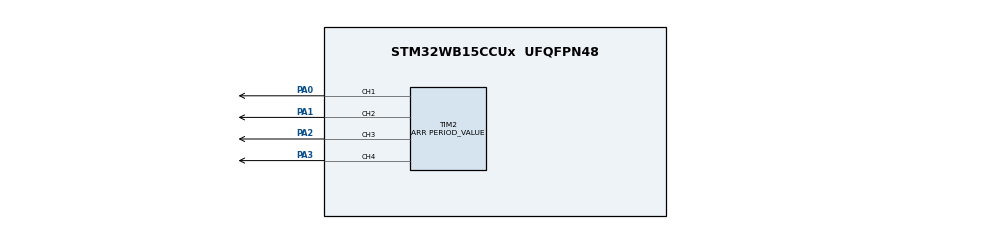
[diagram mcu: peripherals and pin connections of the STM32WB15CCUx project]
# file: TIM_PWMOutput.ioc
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Mcu.Family=STM32WB
Mcu.Name=STM32WB15CCUx
Mcu.Package=UFQFPN48
NVIC.PriorityGroup=NVIC_PRIORITYGROUP_4
PA0.GPIO_PuPd=GPIO_PULLUP
PA0.GPIO_Speed=GPIO_SPEED_FREQ_VERY_HIGH
PA0.Signal=S_TIM2_CH1
PA1.GPIO_PuPd=GPIO_PULLUP
PA1.GPIO_Speed=GPIO_SPEED_FREQ_VERY_HIGH
PA1.Signal=S_TIM2_CH2
PA2.GPIO_PuPd=GPIO_PULLUP
PA2.GPIO_Speed=GPIO_SPEED_FREQ_VERY_HIGH
PA2.Signal=S_TIM2_CH3
PA3.GPIO_PuPd=GPIO_PULLUP
PA3.GPIO_Speed=GPIO_SPEED_FREQ_VERY_HIGH
PA3.Signal=S_TIM2_CH4
ProjectManager.HeapSize=0x200
ProjectManager.StackSize=0x400
ProjectManager.TargetToolchain=STM32CubeIDE
RCC.AHB2CLKDivider=RCC_SYSCLK_DIV2
RCC.AHBFreq_Value=64000000
RCC.APB1Freq_Value=64000000
RCC.APB1TimFreq_Value=64000000
RCC.APB2Freq_Value=64000000
RCC.APB2TimFreq_Value=64000000
RCC.APB3Freq_Value=16000000
RCC.CortexFreq_Value=64000000
RCC.HCLKFreq_Value=64000000
RCC.HSE_VALUE=8000000
RCC.HSI_VALUE=16000000
RCC.LSE_VALUE=32768
RCC.PLLN=32
RCC.SYSCLKFreq_VALUE=64000000
RCC.SYSCLKSource=RCC_SYSCLKSOURCE_PLLCLK
RCC.VCOOutputFreq_Value=128000000
SH.S_TIM2_CH1.0=TIM2_CH1,PWM Generation1 CH1
SH.S_TIM2_CH2.0=TIM2_CH2,PWM Generation2 CH2
SH.S_TIM2_CH3.0=TIM2_CH3,PWM Generation3 CH3
SH.S_TIM2_CH4.0=TIM2_CH4,PWM Generation4 CH4
TIM2.AutoReloadPreload=TIM_AUTORELOAD_PRELOAD_DISABLE
TIM2.Channel-PWM\ Generation1\ CH1=TIM_CHANNEL_1
TIM2.Channel-PWM\ Generation2\ CH2=TIM_CHANNEL_2
TIM2.Channel-PWM\ Generation3\ CH3=TIM_CHANNEL_3
TIM2.Channel-PWM\ Generation4\ CH4=TIM_CHANNEL_4
TIM2.ClearInputSource=TIM_CLEARINPUTSOURCE_NONE
TIM2.ClockDivision=TIM_CLOCKDIVISION_DIV1
TIM2.CounterMode=TIM_COUNTERMODE_UP
TIM2.OC1Preload_PWM=ENABLE
TIM2.OC2Preload_PWM=ENABLE
TIM2.OC3Preload_PWM=ENABLE
TIM2.OC4Preload_PWM=ENABLE
TIM2.OCFastMode_PWM-PWM\ Generation1\ CH1=TIM_OCFAST_DISABLE
TIM2.OCFastMode_PWM-PWM\ Generation2\ CH2=TIM_OCFAST_DISABLE
TIM2.OCFastMode_PWM-PWM\ Generation3\ CH3=TIM_OCFAST_DISABLE
TIM2.OCFastMode_PWM-PWM\ Generation4\ CH4=TIM_OCFAST_DISABLE
TIM2.OCMode_PWM-PWM\ Generation1\ CH1=TIM_OCMODE_PWM1
TIM2.OCMode_PWM-PWM\ Generation2\ CH2=TIM_OCMODE_PWM1
TIM2.OCMode_PWM-PWM\ Generation3\ CH3=TIM_OCMODE_PWM1
TIM2.OCMode_PWM-PWM\ Generation4\ CH4=TIM_OCMODE_PWM1
TIM2.OCPolarity_1=TIM_OCPOLARITY_HIGH
TIM2.OCPolarity_2=TIM_OCPOLARITY_HIGH
TIM2.OCPolarity_3=TIM_OCPOLARITY_HIGH
TIM2.OCPolarity_4=TIM_OCPOLARITY_HIGH
TIM2.Period=PERIOD_VALUE
TIM2.Prescaler=PRESCALER_VALUE
TIM2.Pulse-PWM\ Generation1\ CH1=PULSE1_VALUE
TIM2.Pulse-PWM\ Generation2\ CH2=PULSE2_VALUE
TIM2.Pulse-PWM\ Generation3\ CH3=PULSE3_VALUE
TIM2.Pulse-PWM\ Generation4\ CH4=PULSE4_VALUE
TIM2.TIM_MasterOutputTrigger=TIM_TRGO_RESET
TIM2.TIM_MasterSlaveMode=TIM_MASTERSLAVEMODE_DISABLE
VP_MEMORYMAP_VS_MEMORYMAP.Mode=CurAppReg
board=NUCLEO-WB15CC

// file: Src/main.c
/* USER CODE BEGIN Header */
/**
  ******************************************************************************
  * @file    TIM/TIM_PWMOutput/Src/main.c
  * @author  MCD Application Team
  * @brief   This sample code shows how to use STM32WBxx TIM HAL API to generate
  *          4 signals in PWM.
  ******************************************************************************
  * @attention
  *
  * Copyright (c) 2019-2021 STMicroelectronics.
  * All rights reserved.
  *
  * This software is licensed under terms that can be found in the LICENSE file
  * in the root directory of this software component.
  * If no LICENSE file comes with this software, it is provided AS-IS.
  *
  ******************************************************************************
  */
/* USER CODE END Header */
#include "main.h"

TIM_HandleTypeDef htim2;
uint8_t u8_FlagPWM1;
uint8_t u8_FlagPWM2;
uint8_t u8_FlagPWM3;
uint8_t u8_FlagPWM4;

void SystemClock_Config(void);
void PeriphCommonClock_Config(void);
static void MX_GPIO_Init(void);
static void MX_TIM2_Init(void);

int main(void)
{
  /* USER CODE BEGIN 1 */

  /* STM32WBxx HAL library initialization:
       - Configure the Flash prefetch
       - Systick timer is configured by default as source of time base, but user
         can eventually implement his proper time base source (a general purpose
         timer for example or other time source), keeping in mind that Time base
         duration should be kept 1ms since PPP_TIMEOUT_VALUEs are defined and
         handled in milliseconds basis.
       - Set NVIC Group Priority to 4
       - Low Level Initialization
     */
  /* USER CODE END 1 */

  /* MCU Configuration--------------------------------------------------------*/

  /* Reset of all peripherals, Initializes the Flash interface and the Systick. */
  HAL_Init();

  /* Configure the system clock */
  SystemClock_Config();

/* Configure the peripherals common clocks */
  PeriphCommonClock_Config();

  /* USER CODE BEGIN SysInit */

  /* Configure LED3 */
  BSP_LED_Init(LED3);

  /* USER CODE END SysInit */

  /* Initialize all configured peripherals */
  MX_GPIO_Init();
  MX_TIM2_Init();
  /* USER CODE BEGIN 2 */

/*## Start PWM signals generation #######################################*/
  /* Start channel 1 */
  if (HAL_TIM_PWM_Start(&htim2, TIM_CHANNEL_1) != HAL_OK)
  {
    /* PWM Generation Error */
    Error_Handler();
  }
  /* Start channel 2 */
  if (HAL_TIM_PWM_Start(&htim2, TIM_CHANNEL_2) != HAL_OK)
  {
    /* PWM Generation Error */
    Error_Handler();
  }
  /* Start channel 3 */
  if (HAL_TIM_PWM_Start(&htim2, TIM_CHANNEL_3) != HAL_OK)
  {
    /* PWM generation Error */
    Error_Handler();
  }
  /* Start channel 4 */
  if (HAL_TIM_PWM_Start(&htim2, TIM_CHANNEL_4) != HAL_OK)
  {
    /* PWM generation Error */
    Error_Handler();
  }

  /* USER CODE END 2 */

  /* Infinite loop */
  /* USER CODE BEGIN WHILE */

  srand(time(NULL));
  int nombreAleatoire= 0;

  TIM_OC_InitTypeDef sConfigOC = {0};
  sConfigOC.OCPolarity = TIM_OCPOLARITY_HIGH;
  sConfigOC.OCFastMode = TIM_OCFAST_DISABLE;
  sConfigOC.OCMode = TIM_OCMODE_PWM1;

      // Afficher le nombre aléatoire
  while (1)
  {
    /* USER CODE END WHILE */

    /* USER CODE BEGIN 3 */
    /* USER CODE END TIM2_Init 1 */

    if (u8_FlagPWM1 == 1){
      u8_FlagPWM1 = 0;
      nombreAleatoire = rand() % 1001;
      sConfigOC.Pulse = nombreAleatoire;
      HAL_TIM_PWM_ConfigChannel(&htim2, &sConfigOC, TIM_CHANNEL_1);
    }

    if (u8_FlagPWM2 == 1){
      u8_FlagPWM2 = 0;
      nombreAleatoire = rand() % 1001;
      sConfigOC.Pulse = nombreAleatoire;
      HAL_TIM_PWM_ConfigChannel(&htim2, &sConfigOC, TIM_CHANNEL_2);
    }

    if (u8_FlagPWM3 == 1){
      u8_FlagPWM3 = 0;
      nombreAleatoire = rand() % 1001;
      sConfigOC.Pulse = nombreAleatoire;
      HAL_TIM_PWM_ConfigChannel(&htim2, &sConfigOC, TIM_CHANNEL_3);
    }

    if (u8_FlagPWM4 == 1){
      u8_FlagPWM4 = 0;
      nombreAleatoire = rand() % 1001;
      sConfigOC.Pulse = nombreAleatoire;
      HAL_TIM_PWM_ConfigChannel(&htim2, &sConfigOC, TIM_CHANNEL_4);
    }
  }
  /* USER CODE END 3 */
}

void SystemClock_Config(void)
{
  RCC_OscInitTypeDef RCC_OscInitStruct = {0};
  RCC_ClkInitTypeDef RCC_ClkInitStruct = {0};

  /** Initializes the RCC Oscillators according to the specified parameters
  * in the RCC_OscInitTypeDef structure.
  */
  RCC_OscInitStruct.OscillatorType = RCC_OSCILLATORTYPE_HSI|RCC_OSCILLATORTYPE_MSI;
  RCC_OscInitStruct.HSIState = RCC_HSI_ON;
  RCC_OscInitStruct.MSIState = RCC_MSI_ON;
  RCC_OscInitStruct.HSICalibrationValue = RCC_HSICALIBRATION_DEFAULT;
  RCC_OscInitStruct.MSICalibrationValue = RCC_MSICALIBRATION_DEFAULT;
  RCC_OscInitStruct.MSIClockRange = RCC_MSIRANGE_6;
  RCC_OscInitStruct.PLL.PLLState = RCC_PLL_ON;
  RCC_OscInitStruct.PLL.PLLSource = RCC_PLLSOURCE_MSI;
  RCC_OscInitStruct.PLL.PLLM = RCC_PLLM_DIV1;
  RCC_OscInitStruct.PLL.PLLN = 32;
  RCC_OscInitStruct.PLL.PLLP = RCC_PLLP_DIV2;
  RCC_OscInitStruct.PLL.PLLR = RCC_PLLR_DIV2;
  RCC_OscInitStruct.PLL.PLLQ = RCC_PLLQ_DIV2;
  if (HAL_RCC_OscConfig(&RCC_OscInitStruct) != HAL_OK)
  {
    Error_Handler();
  }

  /** Configure the SYSCLKSource, HCLK, PCLK1 and PCLK2 clocks dividers
  */
  RCC_ClkInitStruct.ClockType = RCC_CLOCKTYPE_HCLK4|RCC_CLOCKTYPE_HCLK2
                              |RCC_CLOCKTYPE_HCLK|RCC_CLOCKTYPE_SYSCLK
                              |RCC_CLOCKTYPE_PCLK1|RCC_CLOCKTYPE_PCLK2;
  RCC_ClkInitStruct.SYSCLKSource = RCC_SYSCLKSOURCE_PLLCLK;
  RCC_ClkInitStruct.AHBCLKDivider = RCC_SYSCLK_DIV1;
  RCC_ClkInitStruct.APB1CLKDivider = RCC_HCLK_DIV1;
  RCC_ClkInitStruct.APB2CLKDivider = RCC_HCLK_DIV1;
  RCC_ClkInitStruct.AHBCLK2Divider = RCC_SYSCLK_DIV2;
  RCC_ClkInitStruct.AHBCLK4Divider = RCC_SYSCLK_DIV1;

  if (HAL_RCC_ClockConfig(&RCC_ClkInitStruct, FLASH_LATENCY_3) != HAL_OK)
  {
    Error_Handler();
  }
}

void PeriphCommonClock_Config(void)
{
  RCC_PeriphCLKInitTypeDef PeriphClkInitStruct = {0};

  /** Initializes the peripherals clock
  */
  PeriphClkInitStruct.PeriphClockSelection = RCC_PERIPHCLK_SMPS;
  PeriphClkInitStruct.SmpsClockSelection = RCC_SMPSCLKSOURCE_HSI;
  PeriphClkInitStruct.SmpsDivSelection = RCC_SMPSCLKDIV_RANGE1;

  if (HAL_RCCEx_PeriphCLKConfig(&PeriphClkInitStruct) != HAL_OK)
  {
    Error_Handler();
  }
}

static void MX_TIM2_Init(void)
{

  TIM_MasterConfigTypeDef sMasterConfig = {0};
  TIM_OC_InitTypeDef sConfigOC = {0};

  htim2.Instance = TIM2;
  htim2.Init.Prescaler = PRESCALER_VALUE;
  htim2.Init.CounterMode = TIM_COUNTERMODE_UP;
  htim2.Init.Period = PERIOD_VALUE;
  htim2.Init.ClockDivision = TIM_CLOCKDIVISION_DIV1;
  htim2.Init.AutoReloadPreload = TIM_AUTORELOAD_PRELOAD_DISABLE;
  if (HAL_TIM_PWM_Init(&htim2) != HAL_OK)
  {
    Error_Handler();
  }
  sMasterConfig.MasterOutputTrigger = TIM_TRGO_RESET;
  sMasterConfig.MasterSlaveMode = TIM_MASTERSLAVEMODE_DISABLE;
  if (HAL_TIMEx_MasterConfigSynchronization(&htim2, &sMasterConfig) != HAL_OK)
  {
    Error_Handler();
  }
  sConfigOC.OCMode = TIM_OCMODE_PWM1;
  sConfigOC.Pulse = PULSE1_VALUE;
  sConfigOC.OCPolarity = TIM_OCPOLARITY_HIGH;
  sConfigOC.OCFastMode = TIM_OCFAST_DISABLE;
  if (HAL_TIM_PWM_ConfigChannel(&htim2, &sConfigOC, TIM_CHANNEL_1) != HAL_OK)
  {
    Error_Handler();
  }
  sConfigOC.Pulse = PULSE2_VALUE;
  if (HAL_TIM_PWM_ConfigChannel(&htim2, &sConfigOC, TIM_CHANNEL_2) != HAL_OK)
  {
    Error_Handler();
  }
  sConfigOC.Pulse = PULSE3_VALUE;
  if (HAL_TIM_PWM_ConfigChannel(&htim2, &sConfigOC, TIM_CHANNEL_3) != HAL_OK)
  {
    Error_Handler();
  }
  sConfigOC.Pulse = PULSE4_VALUE;
  if (HAL_TIM_PWM_ConfigChannel(&htim2, &sConfigOC, TIM_CHANNEL_4) != HAL_OK)
  {
    Error_Handler();
  }
  HAL_TIM_MspPostInit(&htim2);

}

static void MX_GPIO_Init(void)
{

  /* GPIO Ports Clock Enable */
  __HAL_RCC_GPIOA_CLK_ENABLE();

}

void Error_Handler(void)
{
  /* USER CODE BEGIN Error_Handler_Debug */
  /* Turn LED3 on */
  BSP_LED_On(LED3);
  while(1)
  {
  }
  /* USER CODE END Error_Handler_Debug */
}
